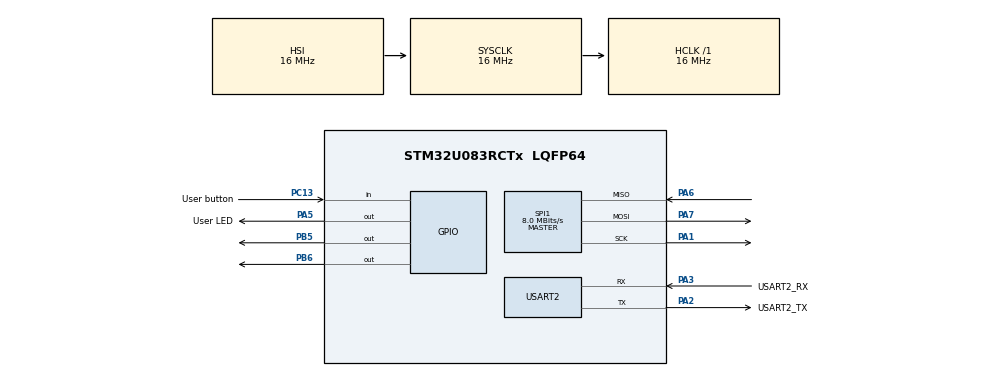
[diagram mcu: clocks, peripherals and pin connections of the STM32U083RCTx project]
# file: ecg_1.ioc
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Mcu.Family=STM32U0
Mcu.Name=STM32U083RCTx
Mcu.Package=LQFP64
NVIC.PriorityGroup=NVIC_PRIORITYGROUP_2
PA1.Mode=Full_Duplex_Master
PA1.Signal=SPI1_SCK
PA13\ (SWDIO).GPIO_Label=SWDIO
PA13\ (SWDIO).Signal=DEBUG_JTMS-SWDIO
PA14\ (SWCLK).GPIO_Label=SWCLK
PA14\ (SWCLK).Signal=DEBUG_JTCK-SWCLK
PA2.GPIO_Label=USART2_TX
PA2.Mode=Asynchronous
PA2.Signal=USART2_TX
PA3.GPIO_Label=USART2_RX
PA3.Mode=Asynchronous
PA3.Signal=USART2_RX
PA5.GPIO_Label=User LED
PA5.Signal=GPIO_Output
PA6.Mode=Full_Duplex_Master
PA6.Signal=SPI1_MISO
PA7.Mode=Full_Duplex_Master
PA7.Signal=SPI1_MOSI
PB5.Signal=GPIO_Output
PB6.Signal=GPIO_Output
PB8.GPIO_Label=I2C1_SCL
PB8.Signal=I2C1_SCL
PB9.GPIO_Label=I2C1_SDA
PB9.Signal=I2C1_SDA
PC13.GPIO_Label=User button
PC13.Signal=GPIO_Input
PC14-OSC32_IN.GPIO_Label=OSC32_IN
PC14-OSC32_IN.Signal=RCC_OSC32_IN
PC15-OSC32_OUT.GPIO_Label=OSC32_OUT
PC15-OSC32_OUT.Signal=RCC_OSC32_OUT
PF0-OSC_IN.GPIO_Label=OSC_IN
PF0-OSC_IN.Signal=RCC_OSC_IN
PF1-OSC_OUT.GPIO_Label=OSC_OUT
PF1-OSC_OUT.Signal=RCC_OSC_OUT
ProjectManager.HeapSize=0x200
ProjectManager.StackSize=0x400
ProjectManager.TargetToolchain=STM32CubeIDE
RCC.AHBFreq_Value=16000000
RCC.CortexFreq_Value=16000000
RCC.HCLKFreq_Value=16000000
RCC.HSE_VALUE=4000000
RCC.HSI48_VALUE=48000000
RCC.HSI_VALUE=16000000
RCC.LSE_VALUE=32768
RCC.MSI_VALUE=4000000
RCC.SYSCLKFreq_VALUE=16000000
RCC.VCOOutputFreq_Value=64000000
SPI1.CalculateBaudRate=8.0 MBits/s
SPI1.Direction=SPI_DIRECTION_2LINES
SPI1.Mode=SPI_MODE_MASTER
SPI1.VirtualType=VM_MASTER
USART2.VirtualMode-Asynchronous=VM_ASYNC
VP_PWR_VS_SECSignals.Mode=Security/Privilege
board=NUCLEO-U083RC

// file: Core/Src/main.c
/* USER CODE BEGIN Header */
/**
  ******************************************************************************
  * @file           : main.c
  * @brief          : Main program body
  ******************************************************************************
  * @attention
  *
  * Copyright (c) 2024 STMicroelectronics.
  * All rights reserved.
  *
  * This software is licensed under terms that can be found in the LICENSE file
  * in the root directory of this software component.
  * If no LICENSE file comes with this software, it is provided AS-IS.
  *
  ******************************************************************************
  */
/* USER CODE END Header */
#include "main.h"

/* USER CODE BEGIN Includes */

//#define dlr  0x50;

/* USER CODE END Includes */

SPI_HandleTypeDef hspi1;

UART_HandleTypeDef huart2;

void SystemClock_Config(void);
static void MX_GPIO_Init(void);
static void MX_SPI1_Init(void);
static void MX_USART2_UART_Init(void);

int main(void)
{

  /* USER CODE BEGIN 1 */
#define ADS1293_CS_LOW()   HAL_GPIO_WritePin(GPIOB, GPIO_PIN_6, GPIO_PIN_RESET)  // Adjust pin as needed
#define ADS1293_CS_HIGH()  HAL_GPIO_WritePin(GPIOB, GPIO_PIN_6, GPIO_PIN_SET)

#define DRDYB_PIN          GPIO_PIN_10  // Adjust pin as needed
#define DRDYB_PORT         GPIOB

// ADS1293 Register Addresses
#define REG_CH_CNFG        0x2F
#define REG_DRDYB_SRC      0x27
#define REG_MASK_DRDYB     0x20
#define REG_DATA_LOOP      0x50
  /* USER CODE END 1 */

  /* MCU Configuration--------------------------------------------------------*/

  /* Reset of all peripherals, Initializes the Flash interface and the Systick. */
  HAL_Init();

  /* Configure the system clock */
  SystemClock_Config();

  /* Initialize all configured peripherals */
  MX_GPIO_Init();
  MX_SPI1_Init();
  MX_USART2_UART_Init();
  /* USER CODE BEGIN 2 */

  void ADS1293_WriteRegister(uint8_t reg, uint8_t value) {
      uint8_t txData[2] = {reg & 0x7F, value}; // MSB = 0 for write
      ADS1293_CS_LOW();
      HAL_SPI_Transmit(&hspi1, txData, 2, HAL_MAX_DELAY);
      ADS1293_CS_HIGH();
  }

  /**
   * @brief Read a single byte from an ADS1293 register.
   */
  uint8_t ADS1293_ReadRegister(uint8_t reg) {
      uint8_t txData[2] = {reg | 0x80, 0x00}; // MSB = 1 for read
      uint8_t rxData[2] = {0};
      ADS1293_CS_LOW();
      HAL_SPI_TransmitReceive(&hspi1, txData, rxData, 2, HAL_MAX_DELAY);
      ADS1293_CS_HIGH();
      return rxData[1];
  }

  /**
   * @brief Initialize the ADS1293 for streaming mode.
   */
  void ADS1293_Init(void) {
      // Stop data conversion
      ADS1293_WriteRegister(0x00, 0x00);

      // Enable Channel 1 PACE, Channel 1 ECG, and Channel 2 ECG for loop read-back mode
      ADS1293_WriteRegister(REG_CH_CNFG, 0x32);

      // Configure DRDYB source to Channel 1 PACE
      ADS1293_WriteRegister(REG_DRDYB_SRC, 0x01);

      // Start data conversion
      ADS1293_WriteRegister(0x00, 0x01);
  }

  /**
   * @brief Read data from the ADS1293 DATA_LOOP register.
   * @param buffer Pointer to buffer to store data.
   * @param length Number of bytes to read.
   */
  void ADS1293_ReadData(uint8_t *buffer, uint8_t length) {
      uint8_t reg = REG_DATA_LOOP | 0x80; // MSB = 1 for read
      ADS1293_CS_LOW();
      HAL_SPI_Transmit(&hspi1, &reg, 1, HAL_MAX_DELAY);
      HAL_SPI_Receive(&hspi1, buffer, length, HAL_MAX_DELAY);
      ADS1293_CS_HIGH();
  }

  void UART_PrintData(uint8_t *data, uint8_t length) {
      char msg[64];
      for (uint8_t i = 0; i < length; i++) {
          snprintf(msg, sizeof(msg), "0x%02X\r\n", data[i]);
          HAL_UART_Transmit(&huart2, (uint8_t *)msg, strlen(msg), HAL_MAX_DELAY);
      }
      snprintf(msg, sizeof(msg), "\r\n");
          HAL_UART_Transmit(&huart2, (uint8_t *)msg, strlen(msg), HAL_MAX_DELAY);
  }

  ADS1293_Init();

  uint8_t dataBuffer[8] = {0};

 /* void ADS1293_WriteRegister(uint8_t regAddress, uint8_t data)
  {
      uint8_t txBuffer[2];
      txBuffer[0] = regAddress;      // Register address
      txBuffer[1] = data;            // Data to write
      HAL_GPIO_WritePin(GPIOB, GPIO_PIN_6, GPIO_PIN_RESET); // Assert CSB
      HAL_SPI_Transmit(&hspi1, txBuffer, 2, HAL_MAX_DELAY);
      HAL_GPIO_WritePin(GPIOB, GPIO_PIN_6, GPIO_PIN_SET);   // Deassert CSB
  }

  // Function to read a block of data from ADS1293 in streaming mode
  void ADS1293_ReadStream(uint8_t *dataBuffer, uint16_t length)
  {
      uint8_t regAddress = DATA_LOOP_REG;

      HAL_GPIO_WritePin(GPIOB, GPIO_PIN_6, GPIO_PIN_RESET); // Assert CSB
      HAL_SPI_Transmit(&hspi1, &regAddress, 1, HAL_MAX_DELAY); // Send the address
      HAL_SPI_Receive(&hspi1, dataBuffer, length, HAL_MAX_DELAY); // Read the data
      HAL_GPIO_WritePin(GPIOB, GPIO_PIN_6, GPIO_PIN_SET);   // Deassert CSB
  }

  // Step 1: Write 0x49 to the CH_CNFG register
  ADS1293_WriteRegister(CH_CNFG_REG, 0x49);

  // Buffer to store the data from DATA_LOOP register
  uint8_t dataBuffer[6];
  void UART2_SendDataHex(uint8_t *data, uint16_t length)
  {
      char buffer[32]; // Temporary buffer for formatted data
      for (uint16_t i = 0; i < length; i++)
      {
          // Format each byte as two-character hex and send it
          sprintf(buffer, "%02X ", data[i]);
          HAL_UART_Transmit(&huart2, (uint8_t *)buffer, strlen(buffer), HAL_MAX_DELAY);
      }

      char newline[] = "\r\n";
      HAL_UART_Transmit(&huart2, (uint8_t *)newline, strlen(newline), HAL_MAX_DELAY);
  }*/

  /* USER CODE END 2 */

  /* Infinite loop */
  while (1)
  {

    /* USER CODE BEGIN 3 */

	  while (HAL_GPIO_ReadPin(DRDYB_PORT, DRDYB_PIN) == GPIO_PIN_SET);

	          // Read 12 bytes of data from DATA_LOOP register
	          ADS1293_ReadData(dataBuffer, 8);
	          UART_PrintData(dataBuffer, 8);

	  HAL_Delay(1000);

	 /* HAL_GPIO_WritePin(GPIOB, GPIO_PIN_6, GPIO_PIN_RESET);
	  HAL_SPI_Transmit(&hspi1, co[0], sizeof(co[0]), HAL_MAX_DELAY);
	  HAL_SPI_Transmit(&hspi1, co[1], sizeof(co[1]), HAL_MAX_DELAY);
	  //HAL_Delay(4);
	 HAL_GPIO_WritePin(GPIOB, GPIO_PIN_6, GPIO_PIN_SET);

	 HAL_GPIO_WritePin(GPIOB, GPIO_PIN_6, GPIO_PIN_RESET);
	  HAL_SPI_Transmit(&hspi1, ch[0], sizeof(ch[0]), HAL_MAX_DELAY);
	  HAL_SPI_Transmit(&hspi1, ch[1], sizeof(ch[1]), HAL_MAX_DELAY);

	//  HAL_Delay(4);
	 HAL_GPIO_WritePin(GPIOB, GPIO_PIN_6, GPIO_PIN_SET);

	 HAL_GPIO_WritePin(GPIOB, GPIO_PIN_6, GPIO_PIN_RESET);
	  HAL_SPI_Transmit(&hspi1, dr[0], sizeof(dr[0]), HAL_MAX_DELAY);
	  HAL_SPI_Transmit(&hspi1, dr[1], sizeof(dr[1]), HAL_MAX_DELAY);
	  //HAL_Delay(4);
	  HAL_GPIO_WritePin(GPIOB, GPIO_PIN_6, GPIO_PIN_SET);

	  HAL_GPIO_WritePin(GPIOB, GPIO_PIN_6, GPIO_PIN_RESET);
	  HAL_SPI_Transmit(&hspi1, st[0], sizeof(st[0]), HAL_MAX_DELAY);
	  HAL_SPI_Transmit(&hspi1, st[1], sizeof(st[1]), HAL_MAX_DELAY);
	 // HAL_Delay(4);
	 HAL_GPIO_WritePin(GPIOB, GPIO_PIN_6, GPIO_PIN_SET);
	 // HAL_GPIO_WritePin(GPIOB, GPIO_PIN_6, GPIO_PIN_RESET);

	  HAL_SPI_Transmit(&hspi1, dlr, sizeof(dlr), HAL_MAX_DELAY);
//HAL_SPI_TransmitReceive(&hspi1, &dlr, recv, sizeof(recv), HAL_MAX_DELAY);
	  HAL_SPI_Receive(&hspi1, (uint8_t *)recv, sizeof(recv), HAL_MAX_DELAY);

	 // HAL_GPIO_WritePin(GPIOB, GPIO_PIN_6, GPIO_PIN_SET);
	  //HAL_SPI_Receive(&hspi1, 0x32, sizeof(0x32), HAL_MAX_DELAY);
	  //uint8_t val =
	// HAL_UART_Transmit(&huart2, (uint8_t*)recv,sizeof(recv), HAL_MAX_DELAY);
	 //HAL_SPI-
	  //HAL_UART_Transmit(huart, pData, Size, Timeout)*/

  }
  /* USER CODE END 3 */
}

void SystemClock_Config(void)
{
  RCC_OscInitTypeDef RCC_OscInitStruct = {0};
  RCC_ClkInitTypeDef RCC_ClkInitStruct = {0};

  /** Configure the main internal regulator output voltage
  */
  HAL_PWREx_ControlVoltageScaling(PWR_REGULATOR_VOLTAGE_SCALE2);

  /** Initializes the RCC Oscillators according to the specified parameters
  * in the RCC_OscInitTypeDef structure.
  */
  RCC_OscInitStruct.OscillatorType = RCC_OSCILLATORTYPE_HSI;
  RCC_OscInitStruct.HSIState = RCC_HSI_ON;
  RCC_OscInitStruct.HSICalibrationValue = RCC_HSICALIBRATION_DEFAULT;
  RCC_OscInitStruct.PLL.PLLState = RCC_PLL_NONE;
  if (HAL_RCC_OscConfig(&RCC_OscInitStruct) != HAL_OK)
  {
    Error_Handler();
  }

  /** Initializes the CPU, AHB and APB buses clocks
  */
  RCC_ClkInitStruct.ClockType = RCC_CLOCKTYPE_HCLK|RCC_CLOCKTYPE_SYSCLK
                              |RCC_CLOCKTYPE_PCLK1;
  RCC_ClkInitStruct.SYSCLKSource = RCC_SYSCLKSOURCE_HSI;
  RCC_ClkInitStruct.AHBCLKDivider = RCC_SYSCLK_DIV1;
  RCC_ClkInitStruct.APB1CLKDivider = RCC_HCLK_DIV1;

  if (HAL_RCC_ClockConfig(&RCC_ClkInitStruct, FLASH_LATENCY_1) != HAL_OK)
  {
    Error_Handler();
  }
}

static void MX_SPI1_Init(void)
{

  /* SPI1 parameter configuration*/
  hspi1.Instance = SPI1;
  hspi1.Init.Mode = SPI_MODE_MASTER;
  hspi1.Init.Direction = SPI_DIRECTION_2LINES;
  hspi1.Init.DataSize = SPI_DATASIZE_4BIT;
  hspi1.Init.CLKPolarity = SPI_POLARITY_LOW;
  hspi1.Init.CLKPhase = SPI_PHASE_1EDGE;
  hspi1.Init.NSS = SPI_NSS_SOFT;
  hspi1.Init.BaudRatePrescaler = SPI_BAUDRATEPRESCALER_2;
  hspi1.Init.FirstBit = SPI_FIRSTBIT_MSB;
  hspi1.Init.TIMode = SPI_TIMODE_DISABLE;
  hspi1.Init.CRCCalculation = SPI_CRCCALCULATION_DISABLE;
  hspi1.Init.CRCPolynomial = 7;
  hspi1.Init.CRCLength = SPI_CRC_LENGTH_DATASIZE;
  hspi1.Init.NSSPMode = SPI_NSS_PULSE_ENABLE;
  if (HAL_SPI_Init(&hspi1) != HAL_OK)
  {
    Error_Handler();
  }

}

static void MX_USART2_UART_Init(void)
{

  huart2.Instance = USART2;
  huart2.Init.BaudRate = 115200;
  huart2.Init.WordLength = UART_WORDLENGTH_8B;
  huart2.Init.StopBits = UART_STOPBITS_1;
  huart2.Init.Parity = UART_PARITY_NONE;
  huart2.Init.Mode = UART_MODE_TX_RX;
  huart2.Init.HwFlowCtl = UART_HWCONTROL_NONE;
  huart2.Init.OverSampling = UART_OVERSAMPLING_16;
  huart2.Init.OneBitSampling = UART_ONE_BIT_SAMPLE_DISABLE;
  huart2.Init.ClockPrescaler = UART_PRESCALER_DIV1;
  huart2.AdvancedInit.AdvFeatureInit = UART_ADVFEATURE_NO_INIT;
  if (HAL_UART_Init(&huart2) != HAL_OK)
  {
    Error_Handler();
  }
  if (HAL_UARTEx_SetTxFifoThreshold(&huart2, UART_TXFIFO_THRESHOLD_1_8) != HAL_OK)
  {
    Error_Handler();
  }
  if (HAL_UARTEx_SetRxFifoThreshold(&huart2, UART_RXFIFO_THRESHOLD_1_8) != HAL_OK)
  {
    Error_Handler();
  }
  if (HAL_UARTEx_DisableFifoMode(&huart2) != HAL_OK)
  {
    Error_Handler();
  }

}

static void MX_GPIO_Init(void)
{
  GPIO_InitTypeDef GPIO_InitStruct = {0};

  /* GPIO Ports Clock Enable */
  __HAL_RCC_GPIOC_CLK_ENABLE();
  __HAL_RCC_GPIOF_CLK_ENABLE();
  __HAL_RCC_GPIOA_CLK_ENABLE();
  __HAL_RCC_GPIOB_CLK_ENABLE();

  /*Configure GPIO pin Output Level */
  HAL_GPIO_WritePin(User_LED_GPIO_Port, User_LED_Pin, GPIO_PIN_RESET);

  /*Configure GPIO pin Output Level */
  HAL_GPIO_WritePin(GPIOB, GPIO_PIN_5|GPIO_PIN_6, GPIO_PIN_RESET);

  /*Configure GPIO pin : User_button_Pin */
  GPIO_InitStruct.Pin = User_button_Pin;
  GPIO_InitStruct.Mode = GPIO_MODE_INPUT;
  GPIO_InitStruct.Pull = GPIO_NOPULL;
  HAL_GPIO_Init(User_button_GPIO_Port, &GPIO_InitStruct);

  /*Configure GPIO pin : User_LED_Pin */
  GPIO_InitStruct.Pin = User_LED_Pin;
  GPIO_InitStruct.Mode = GPIO_MODE_OUTPUT_PP;
  GPIO_InitStruct.Pull = GPIO_NOPULL;
  GPIO_InitStruct.Speed = GPIO_SPEED_FREQ_LOW;
  HAL_GPIO_Init(User_LED_GPIO_Port, &GPIO_InitStruct);

  /*Configure GPIO pins : PB5 PB6 */
  GPIO_InitStruct.Pin = GPIO_PIN_5|GPIO_PIN_6;
  GPIO_InitStruct.Mode = GPIO_MODE_OUTPUT_PP;
  GPIO_InitStruct.Pull = GPIO_NOPULL;
  GPIO_InitStruct.Speed = GPIO_SPEED_FREQ_LOW;
  HAL_GPIO_Init(GPIOB, &GPIO_InitStruct);

  /*Configure GPIO pins : I2C1_SCL_Pin I2C1_SDA_Pin */
  GPIO_InitStruct.Pin = I2C1_SCL_Pin|I2C1_SDA_Pin;
  GPIO_InitStruct.Mode = GPIO_MODE_AF_OD;
  GPIO_InitStruct.Pull = GPIO_NOPULL;
  GPIO_InitStruct.Speed = GPIO_SPEED_FREQ_LOW;
  GPIO_InitStruct.Alternate = GPIO_AF4_I2C1;
  HAL_GPIO_Init(GPIOB, &GPIO_InitStruct);

}

void Error_Handler(void)
{
  __disable_irq();
  while (1)
  {
  }
}
